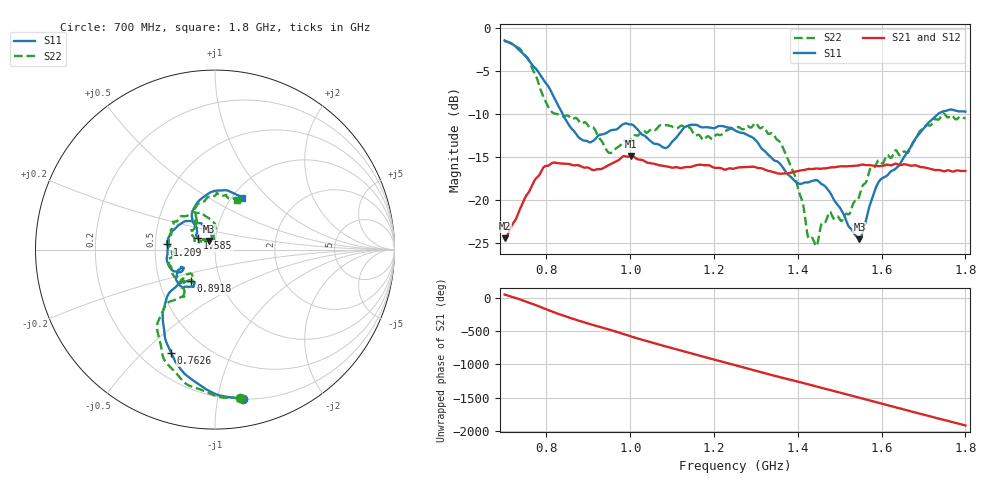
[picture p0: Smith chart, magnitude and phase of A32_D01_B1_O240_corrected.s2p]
! Created with skrf 1.9.0 (http://scikit-rf.org).
# Hz S RI R 50.0
!freq ReS11 ImS11 ReS21 ImS21 ReS12 ImS12 ReS22 ImS22
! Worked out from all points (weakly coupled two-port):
!   1601 points, 700 MHz to 1.8 GHz, reference 50 ohm
!   highest |S21| = -14.84 dB at 1.002 GHz (marker M1); lowest = -24.4 dB at 700 MHz (marker M2)
!   lowest |S11| = -24.5 dB at 1.547 GHz (marker M3), VSWR 1.13, Z = 46.5 + j4.54 ohm
!   |S11| at or under -10 dB: 838.8 MHz to 1.734 GHz (895.4 MHz wide, 69.6 % of centre)
!   |S22| runs from -25.3 to -1.5 dB; largest |S21 - S12| = 0.0035
!   S11 on the Smith chart (normalised r, x): 700 MHz: 0.20, -1.19; 762.6 MHz: 0.32, -0.61; 891.8 MHz: 0.72, -0.27; 1.209 GHz: 0.58, +0.04; 1.585 GHz: 0.82, +0.11; 1.8 GHz: 1.11, +0.72
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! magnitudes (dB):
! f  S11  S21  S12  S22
! 700 MHz  -1.4  -24.4  -24.2  -1.5
! 762.6 MHz  -4.1  -18.6  -18.6  -4.3
! 811.4 MHz  -7.4  -15.7  -15.7  -9.7
! 883.6 MHz  -12.9  -16.1  -16.0  -11.1
! 891.8 MHz  -13.1  -16.2  -16.2  -10.9
! 950.2 MHz  -12.0  -15.9  -15.9  -14.5
! 1.002 GHz  -11.2  -14.8  -15.0  -12.9
! 1.067 GHz  -13.5  -15.9  -15.8  -11.5
! 1.209 GHz  -11.4  -16.2  -16.3  -12.4
! 1.25 GHz  -11.9  -16.3  -16.2  -11.6
! 1.3 GHz  -13.1  -16.2  -16.2  -11.0
! 1.358 GHz  -15.8  -16.9  -16.9  -13.3
! 1.393 GHz  -17.8  -16.7  -16.7  -17.1
! 1.434 GHz  -17.7  -16.4  -16.3  -24.4
! 1.445 GHz  -17.7  -16.3  -16.3  -25.2
! 1.47 GHz  -18.7  -16.3  -16.2  -22.0
! 1.506 GHz  -21.3  -16.0  -16.0  -22.3
! 1.547 GHz  -24.5  -15.9  -15.9  -19.5
! 1.585 GHz  -18.7  -16.0  -16.0  -16.0
! 1.617 GHz  -16.9  -15.9  -15.9  -14.9
! 1.735 GHz  -10.0  -16.5  -16.5  -10.6
! 1.8 GHz  -9.7  -16.6  -16.6  -10.4
